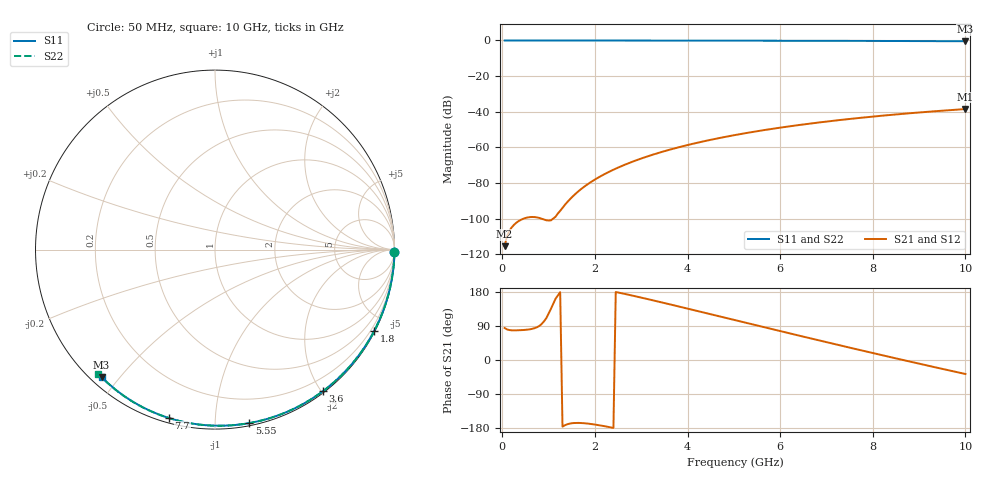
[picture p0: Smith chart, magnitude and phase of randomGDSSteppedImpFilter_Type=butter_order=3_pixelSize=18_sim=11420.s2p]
! freq	dB(S11)	phase(S11)	dB(S12)	phase(S12)
!  dB(S21)	phase(S21)	dB(S22)	phase(S22)
!S-par simulation data
#  GHz  S  DB  R 50
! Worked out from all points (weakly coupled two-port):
!   200 points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, 50 MHz to 10 GHz, reference 50 ohm
!   highest |S21| = -38.50 dB at 10 GHz (marker M1); lowest = -115.4 dB at 50 MHz (marker M2)
!   lowest |S11| = -0.4 dB at 10 GHz (marker M3), VSWR 39.24, Z = 1.53 - j22.4 ohm
!   |S11| at or under -10 dB: nowhere
!   |S22| runs from -0.4 to 0.0 dB; largest |S21 - S12| = 0
!   S11 on the Smith chart (normalised r, x): 50 MHz: open; 1.8 GHz: 0.04, -4.17; 3.6 GHz: 0.02, -2.02; 5.55 GHz: 0.02, -1.22; 7.7 GHz: 0.02, -0.76; 10 GHz: 0.03, -0.45
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0.05  -0.00 -0.8  -115.43 84.5  -115.43 84.5  -0.00 -0.8
0.9  -0.02 -13.6  -100.49 102.0  -100.49 102.0  -0.02 -13.7
1.75  -0.03 -26.3  -82.42 -166.7  -82.42 -166.7  -0.03 -26.5
1.8  -0.03 -27.0  -81.46 -167.2  -81.46 -167.2  -0.03 -27.2
1.85  -0.04 -27.7  -80.56 -167.8  -80.56 -167.8  -0.04 -28.0
1.9  -0.04 -28.5  -79.68 -168.6  -79.68 -168.6  -0.04 -28.7
2.05  -0.04 -30.7  -77.27 -171.3  -77.27 -171.3  -0.04 -30.9
2.25  -0.04 -33.6  -74.43 -175.6  -74.43 -175.6  -0.04 -33.9
2.45  -0.05 -36.5  -71.92 179.5  -71.92 179.5  -0.05 -36.8
2.65  -0.05 -39.4  -69.68 174.3  -69.68 174.3  -0.05 -39.7
3  -0.06 -44.4  -66.24 164.7  -66.24 164.7  -0.06 -44.7
3.4  -0.07 -50.0  -62.89 153.2  -62.89 153.2  -0.07 -50.4
3.6  -0.07 -52.8  -61.39 147.4  -61.39 147.4  -0.07 -53.2
4.3  -0.09 -62.4  -56.87 126.8  -56.87 126.8  -0.09 -62.9
5.05  -0.11 -72.3  -52.95 104.5  -52.95 104.5  -0.11 -73.0
5.55  -0.13 -78.8  -50.72 89.6  -50.72 89.6  -0.13 -79.5
6.1  -0.15 -85.8  -48.56 73.4  -48.56 73.4  -0.15 -86.5
6.7  -0.18 -93.2  -46.47 55.8  -46.47 55.8  -0.18 -94.0
7.7  -0.24 -105.3  -43.50 26.9  -43.50 26.9  -0.24 -106.2
8.35  -0.29 -112.9  -41.86 8.5  -41.86 8.5  -0.29 -113.9
9.15  -0.36 -122.1  -40.10 -13.8  -40.10 -13.8  -0.36 -123.2
10  -0.44 -131.7  -38.50 -36.9  -38.50 -36.9  -0.45 -133.1
